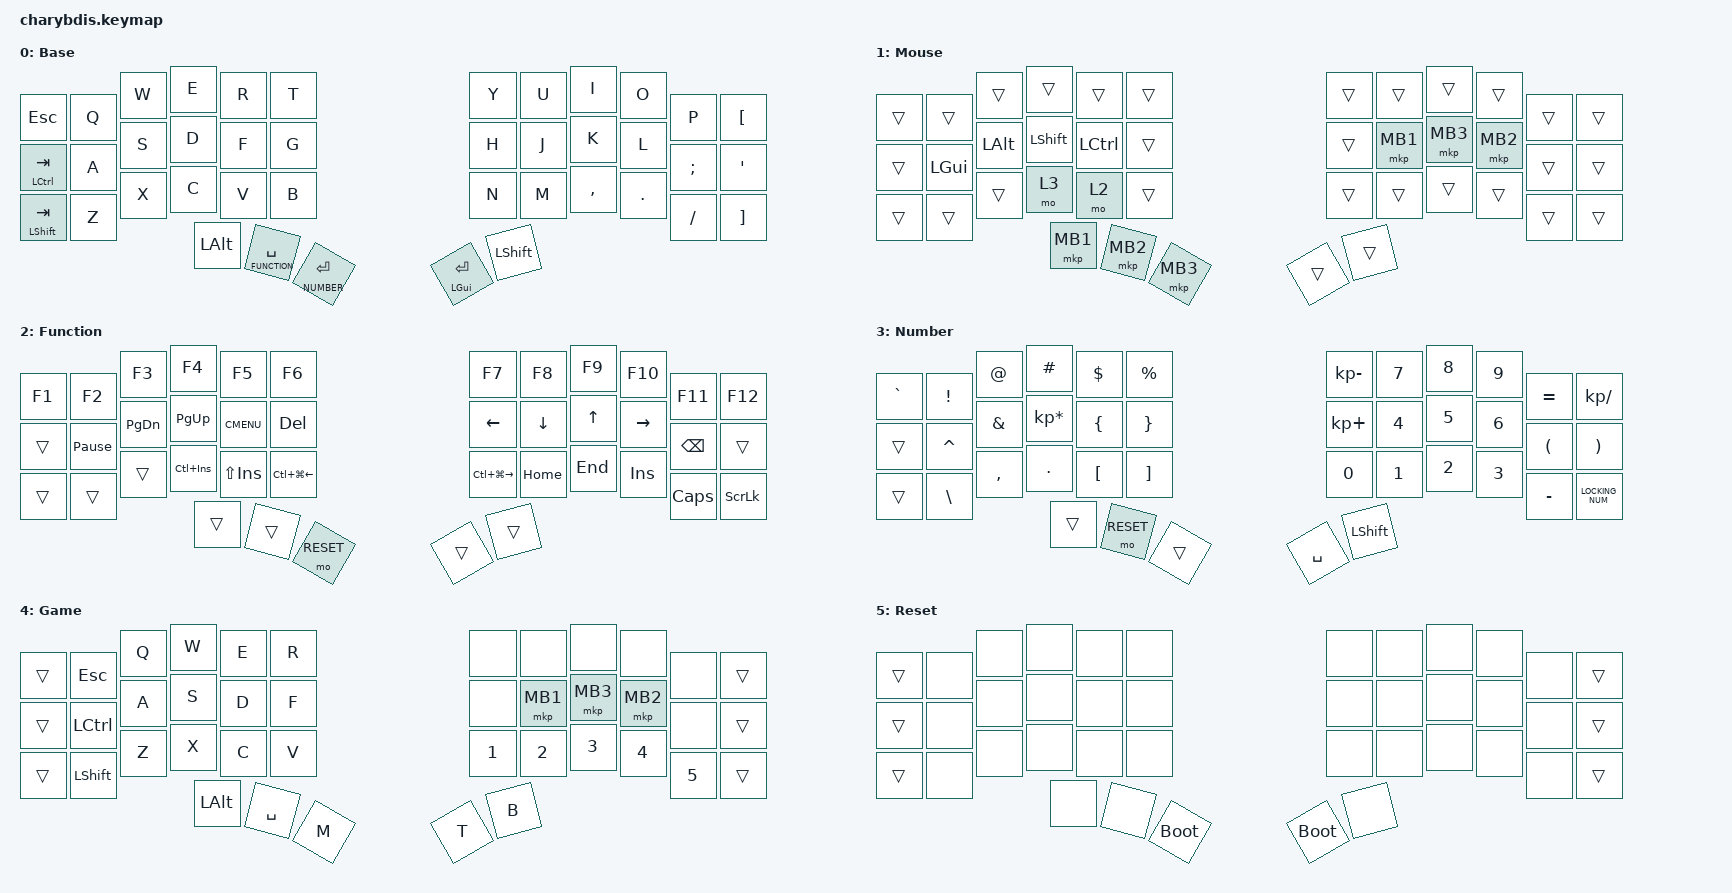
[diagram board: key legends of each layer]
#include <behaviors.dtsi>
#include <dt-bindings/zmk/keys.h>
#include <dt-bindings/zmk/pointing.h>

#define BASE 0	
#define MOUSE 1
#define FUNCTION 2
#define NUMBER 3
#define GAME 4
#define RESET 5

#define KEYS_L 0 1 2 3 4 10 11 12 13 14 20 21 22 23 24
#define KEYS_R 5 6 7 8 9 15 16 17 18 19 25 26 27 28 29
#define THUMBS 30 31 32 33 34 35

&sk {
    release-after-ms = <600>;
    quick-release;
};

&sl { ignore-modifiers; };

&mt { flavor = "tap-preferred"; };

&lt {
    flavor = "balanced";
    tapping-term-ms = <200>;
    quick-tap-ms = <175>;
};

&caps_word { /delete-property/ ignore-modifiers; };

/ {
    trackball_listener {
        compatible = "zmk,input-behavior-listener";
        device = <&trackball_split>;
        layers = <0 1 4 5>;
        evt-type = <INPUT_EV_REL>;
        x-input-code = <INPUT_REL_X>;
        y-input-code = <INPUT_REL_Y>;
        scale-multiplier = <1>;
        scale-divisor = <4>;
        bindings = <&ib_toggle_layer 5>;
    };

    trackball_snipe_listener {
        compatible = "zmk,input-behavior-listener";   
        device = <&trackball_split>;
        layers = <3>;
        evt-type = <INPUT_EV_REL>;
        x-input-code = <INPUT_REL_X>;
        y-input-code = <INPUT_REL_Y>;
        scale-multiplier = <1>;
        scale-divisor = <12>;
    };

    trackball_scroll_listener {
        compatible = "zmk,input-behavior-listener";
        device = <&trackball_split>;
        layers = <2>;
        evt-type = <INPUT_EV_REL>;            
        x-input-code = <INPUT_REL_MISC>;
        y-input-code = <INPUT_REL_WHEEL>;
        y-invert;
        bindings = <&ib_wheel_scaler 1 16>;
    };

    ib_wheel_scaler: ib_wheel_scaler {
        compatible = "zmk,input-behavior-scaler";
        #binding-cells = <2>;
        evt-type = <INPUT_EV_REL>;
        input-code = <INPUT_REL_WHEEL>;
    };
	
    behaviors {
        hml: hml {
            compatible = "zmk,behavior-hold-tap";
            #binding-cells = <2>;
            flavor = "balanced";
            tapping-term-ms = <2000>;
            quick-tap-ms = <175>;
            require-prior-idle-ms = <250>;
            hold-trigger-key-positions = <KEYS_R THUMBS>;
            hold-trigger-on-release;
            bindings = <&kp>, <&kp>;
        };

        hmr: hmr {
            compatible = "zmk,behavior-hold-tap";
            #binding-cells = <2>;
            flavor = "balanced";
            tapping-term-ms = <2000>;
            quick-tap-ms = <175>;
            require-prior-idle-ms = <250>;
            hold-trigger-key-positions = <KEYS_L THUMBS>;
            hold-trigger-on-release;
            bindings = <&kp>, <&kp>;
        };

        hml_s: hml_s {
            compatible = "zmk,behavior-hold-tap";
            #binding-cells = <2>;
            flavor = "balanced";
            tapping-term-ms = <2000>;
            quick-tap-ms = <175>;
            require-prior-idle-ms = <0>;
            hold-trigger-key-positions = <KEYS_R THUMBS>;
            hold-trigger-on-release;
            bindings = <&kp>, <&kp>;
        };

        hmr_s: hmr_s {
            compatible = "zmk,behavior-hold-tap";
            #binding-cells = <2>;
            flavor = "balanced";
            tapping-term-ms = <2000>;
            quick-tap-ms = <175>;
            require-prior-idle-ms = <0>;
            hold-trigger-key-positions = <KEYS_L THUMBS>;
            hold-trigger-on-release;
            bindings = <&kp>, <&kp>;
        };

        smart_shift: smart_shift {
            compatible = "zmk,behavior-mod-morph";
            #binding-cells = <0>;
            bindings = <&sk LSHIFT>, <&caps_word>;

            mods = <(MOD_LSFT)>;
        };
    };

    combos {
        compatible = "zmk,combos";
        timeout-ms = <20>;
        require-prior-idle-ms = <250>;

        combo_reset_layer_left {
            key-positions = <20 24>;
            bindings = <&to RESET>;
        };

        combo_reset_layer_right {
            key-positions = <25 29>;
            bindings = <&to RESET>;
        };

        combo_reset_central {
            key-positions = <32 33>;
            bindings = <&bootloader>;
            require-prior-idle-ms = <2000>;
        };

        combo_normal {
            key-positions = <7 8>;
            bindings = <&to BASE>;
        };

        combo_fn {
            key-positions = <27 28>;
            bindings = <&sl FUNCTION>;
        };

        combo_game {
            key-positions = <5 9>;
            bindings = <&to GAME>;
        };

        combo_esc {
            key-positions = <1 2>;
            bindings = <&kp ESCAPE>;
        };

        combo_tab {
            key-positions = <2 3>;
            bindings = <&kp TAB>;
        };

        combo_cdel {
            key-positions = <11 12>;
            bindings = <&kp LC(BACKSPACE)>;
        };

        combo_unlock {
            key-positions = <0 4>;
            bindings = <&studio_unlock>;
        };
    };

    chosen { zmk,physical-layout = &charybdis_6col_layout; };

    keymap {
        compatible = "zmk,keymap";

        Base {
            display-name = "Base";

            // .---------------------------------------------------------------------.               .------------------------------------------------------------------------.
            // |   ESC      |    Q    |    W   |   E    |      R       |      T      |               |     Y     |      U       |      I      |    O    |     P    |    [     |
            // |------------+---------+--------+--------+--------------+-------------|               |-----------+--------------+-------------+---------+----------+----------|
            // | CTRL/TAB   |    A    |    S   |   D    |      F       |      G      |               |     H     |      J       |      K      |    L    |     ;    |    '     |
            // |------------+---------+--------+--------+--------------+-------------|               |-----------+--------------+-------------+---------+----------+----------|
            // | SHFT/TAB   |    Z    |    X   |   C    |      V       |      B      |               |     N     |      M       |      ,      |    .    |     /    |    ]     |
            // '-------------------------------+--------+--------------+-------------+               |-----------+--------------+-------------+-------------------------------'
            //                                 |  ALT   |FUNCTION/SPACE|  NUMBER/RET |               |  GUI/RET  |     SHFT     |
            //                                 '--------+--------------+-------------'               '-----------+--------------'

            bindings = <
&kp ESC        &kp Q  &kp W  &kp E     &kp R               &kp T             &kp Y             &kp U      &kp I      &kp O    &kp P     &kp LEFT_BRACKET
&mt LCTRL TAB  &kp A  &kp S  &kp D     &kp F               &kp G             &kp H             &kp J      &kp K      &kp L    &kp SEMI  &kp SQT
&mt LSHFT TAB  &kp Z  &kp X  &kp C     &kp V               &kp B             &kp N             &kp M      &kp COMMA  &kp DOT  &kp FSLH  &kp RIGHT_BRACKET
                             &kp LALT  &lt FUNCTION SPACE  &lt NUMBER RET    &mt LEFT_GUI RET  &kp LSHFT
            >;
        };

        Mouse {
            display-name = "Mouse";
            bindings = <
&trans  &trans    &trans    &trans     &trans     &trans      &trans  &trans    &trans    &trans    &trans  &trans
&trans  &kp LGUI  &kp LALT  &kp LSHFT  &kp LCTRL  &trans      &trans  &mkp MB1  &mkp MB3  &mkp MB2  &trans  &trans
&trans  &trans    &trans    &mo 3      &mo 2      &trans      &trans  &trans    &trans    &trans    &trans  &trans
                            &mkp MB1   &mkp MB2   &mkp MB3    &trans  &trans
            >;
        };

        Fun {
            display-name = "Function";

            // .-----------------------------------------------------------------.                .------------------------------------------------------------------------.
            // |   	 F1 	|     F2    |   F3   |   F4   |     F5    |   F6     |                |    F7    |      F8     |    F9   |   F10      |    F11   |    F12      |
            // |------------+-----------+--------+--------+-----------+----------|                |----------+-------------+---------+------------+----------+-------------|
            // |  CTRL/TAB  |PAUSE_BREAK|   PD   |   PU   |   MENU    |   DEL    |                |   LEFT   |     DOWN    |    UP   |   RIGHT    |   BKSP   |             |
            // |------------+-----------+--------+--------+-----------+----------|                |----------+-------------+---------+------------+----------+-------------|
            // |  SHFT/TAB  |           |        |  COPY  |   PASTE   |CTRL+LEFT |                |CTRL+RIGHT|    HOME     |   END   |   INSERT   |   CAPS   |  SCROLLLOCK |
            // '---------------------------------+--------+-----------+----------+                |----------+-------------+---------+-------------------------------------'
            //                                   |  ALT   |           |  RESET   |                |  GUI/RET |    SHFT     |
            //                                   '--------+-----------+----------'                '----------+-------------'

            bindings = <
&kp F1  &kp F2           &kp F3         &kp F4       &kp F5       &kp F6                    &kp F7                   &kp F8          &kp F9        &kp F10          &kp F11   &kp F12
&trans  &kp PAUSE_BREAK  &kp PAGE_DOWN  &kp PAGE_UP  &kp K_CMENU  &kp DEL                   &kp LEFT_ARROW           &kp DOWN_ARROW  &kp UP_ARROW  &kp RIGHT_ARROW  &kp BSPC  &trans
&trans  &trans           &trans         &kp LC(INS)  &kp LS(INS)  &kp LC(LG(LEFT_ARROW))    &kp LC(LG(RIGHT_ARROW))  &kp HOME        &kp END       &kp INSERT       &kp CAPS  &kp SCROLLLOCK
                                        &trans       &trans       &mo RESET                 &trans                   &trans
            >;
        };

        Num {
            display-name = "Number";

            // .--------------------------------------------------------------.                   .-----------------------------------------------------------.
            // |     `        |    !    |    @   |   #    |    $    |    %    |                   | NUM - |    7    |    8    |    9    |     =    |     /    |
            // |--------------+---------+--------+--------+---------+---------|                   |-------+---------+---------+---------+----------+----------|
            // |   CTRL/TAB   |    ^    |    &   |   *    |    {    |    }    |                   |   +   |    4    |    5    |    6    |     (    |     )    |
            // |--------------+---------+--------+--------+---------+---------|                   |-------+---------+---------+---------+----------+----------|
            // |   SHFT/TAB   |    \    |    ,   |   .    |    [    |    ]    |                   |   0   |    1    |    2    |    3    |     -    |  NUMLOCK |
            // '---------------------------------+--------+---------+---------+                   |-------+---------+---------+-------------------------------'
            //                                   |  ALT   |  RESET  |         |                   | SPACE |   SHFT  |
            //                                   '--------+---------+---------'                   '-------+---------'

            bindings = <
&kp GRAVE  &kp EXCL       &kp AT     &kp HASH         &kp DLLR          &kp PRCNT            &kp KP_MINUS  &kp N7     &kp N8  &kp N9  &kp EQUAL  &kp KP_DIVIDE
&trans     &kp CARET      &kp AMPS   &kp KP_MULTIPLY  &kp LEFT_BRACE    &kp RIGHT_BRACE      &kp KP_PLUS   &kp N4     &kp N5  &kp N6  &kp LPAR   &kp RPAR
&trans     &kp BACKSLASH  &kp COMMA  &kp DOT          &kp LEFT_BRACKET  &kp RIGHT_BRACKET    &kp N0        &kp N1     &kp N2  &kp N3  &kp MINUS  &kp LOCKING_NUM
                                     &trans           &mo RESET         &trans               &kp SPACE     &kp LSHFT
            >;
        };

        Button {
            display-name = "Game";
            bindings = <
&trans  &kp ESCAPE  &kp Q  &kp W     &kp E      &kp R    &none   &none     &none     &none     &none   &trans
&trans  &kp LCTRL   &kp A  &kp S     &kp D      &kp F    &none   &mkp MB1  &mkp MB3  &mkp MB2  &none   &trans
&trans  &kp LSHIFT  &kp Z  &kp X     &kp C      &kp V    &kp N1  &kp N2    &kp N3    &kp N4    &kp N5  &trans
                           &kp LALT  &kp SPACE  &kp M    &kp T   &kp B
            >;
        };

        Reset {
            display-name = "Reset";
            bindings = <
&trans  &none  &none  &none  &none  &none          &none        &none  &none  &none  &none  &trans
&trans  &none  &none  &none  &none  &none          &none        &none  &none  &none  &none  &trans
&trans  &none  &none  &none  &none  &none          &none        &none  &none  &none  &none  &trans
                      &none  &none  &bootloader    &bootloader  &none
            >;
        };
    };
};
